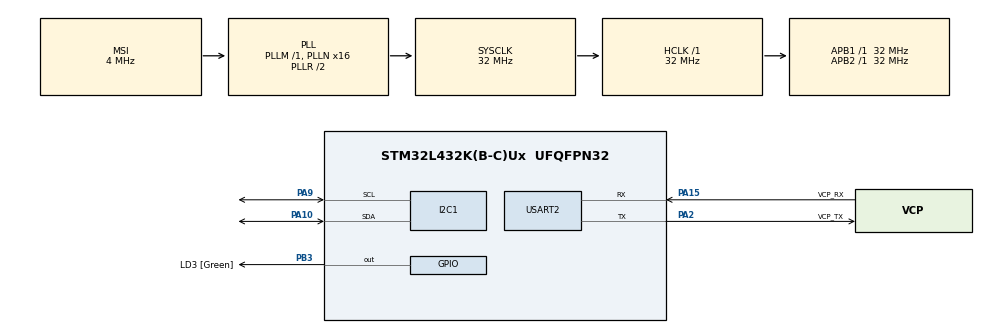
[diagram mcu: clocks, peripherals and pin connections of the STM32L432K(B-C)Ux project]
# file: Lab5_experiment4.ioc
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I2C1.Timing=0x00707CBB
Mcu.Family=STM32L4
Mcu.Name=STM32L432K(B-C)Ux
Mcu.Package=UFQFPN32
NVIC.PriorityGroup=NVIC_PRIORITYGROUP_4
NVIC.USART2_IRQn=true\:0\:0\:false\:false\:true\:true\:true\:true
PA0.GPIO_Label=MCO [High speed clock in]
PA0.Mode=HSE-External-Clock-Source-for-LittleOrca
PA0.Signal=RCC_CK_IN
PA10.Mode=I2C
PA10.Signal=I2C1_SDA
PA13\ (JTMS-SWDIO).GPIO_Label=SWDIO
PA13\ (JTMS-SWDIO).Mode=Serial_Wire
PA13\ (JTMS-SWDIO).Signal=SYS_JTMS-SWDIO
PA14\ (JTCK-SWCLK).GPIO_Label=SWCLK
PA14\ (JTCK-SWCLK).Mode=Serial_Wire
PA14\ (JTCK-SWCLK).Signal=SYS_JTCK-SWCLK
PA15\ (JTDI).GPIO_Label=VCP_RX
PA15\ (JTDI).Mode=Asynchronous
PA15\ (JTDI).Signal=USART2_RX
PA2.GPIO_Label=VCP_TX
PA2.Mode=Asynchronous
PA2.Signal=USART2_TX
PA9.Mode=I2C
PA9.Signal=I2C1_SCL
PB3\ (JTDO-TRACESWO).GPIO_Label=LD3 [Green]
PB3\ (JTDO-TRACESWO).Signal=GPIO_Output
PC14-OSC32_IN\ (PC14).Mode=LSE-External-Oscillator
PC14-OSC32_IN\ (PC14).Signal=RCC_OSC32_IN
PC15-OSC32_OUT\ (PC15).Mode=LSE-External-Oscillator
PC15-OSC32_OUT\ (PC15).Signal=RCC_OSC32_OUT
ProjectManager.HeapSize=0x200
ProjectManager.StackSize=0x400
ProjectManager.TargetToolchain=MDK-ARM V5.32
RCC.AHBFreq_Value=32000000
RCC.APB1Freq_Value=32000000
RCC.APB1TimFreq_Value=32000000
RCC.APB2Freq_Value=32000000
RCC.APB2TimFreq_Value=32000000
RCC.CortexFreq_Value=32000000
RCC.HCLKFreq_Value=32000000
RCC.HSE_VALUE=8000000
RCC.HSI16_VALUE=16000000
RCC.HSI48_VALUE=48000000
RCC.HSI_VALUE=16000000
RCC.MSI_VALUE=4000000
RCC.PLLMUL=RCC_PLLMUL_4
RCC.PLLN=16
RCC.SYSCLKFreq_VALUE=32000000
RCC.SYSCLKSource=RCC_SYSCLKSOURCE_PLLCLK
RCC.VCOOutputFreq_Value=64000000
USART2.VirtualMode-Asynchronous=VM_ASYNC
board=NUCLEO-L432KC

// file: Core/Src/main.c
/* USER CODE BEGIN Header */
/**
  ******************************************************************************
  * @file           : main.c
  * @brief          : Main program body
  ******************************************************************************
  * @attention
  *
  * Copyright (c) 2024 STMicroelectronics.
  * All rights reserved.
  *
  * This software is licensed under terms that can be found in the LICENSE file
  * in the root directory of this software component.
  * If no LICENSE file comes with this software, it is provided AS-IS.
  *
  ******************************************************************************
  */
/* USER CODE END Header */
#include "main.h"

/* USER CODE BEGIN Includes */
#include "stdio.h"
#include <string.h>
#include <stdint.h>
#include <stdlib.h>

/* USER CODE END Includes */

/* USER CODE BEGIN PM */
int flag =0;
char userbuff[6] = {0};
uint8_t secbuffer[2], minbuffer[2], hourbuffer[2],alarmSecbuffer[2] = {0},alarmMinbuffer[2] = {0},alarmHourbuffer[2] = {0},maskbuffer[2],checkbuffer[2],statusbuffer[2];

/* USER CODE END PM */

I2C_HandleTypeDef hi2c1;

UART_HandleTypeDef huart2;

void SystemClock_Config(void);
static void MX_GPIO_Init(void);
static void MX_I2C1_Init(void);
static void MX_USART2_UART_Init(void);
/* USER CODE BEGIN PFP */

int8_t charToHex(char c1, char c2) {
	int8_t hex = 0;
  int8_t digit1 = c1 - '0';
  int8_t digit2 = c2 - '0';
  return (digit1 << 4) | digit2;
}
/* USER CODE END PFP */

int main(void)
{

  /* MCU Configuration--------------------------------------------------------*/

  /* Reset of all peripherals, Initializes the Flash interface and the Systick. */
  HAL_Init();

  /* Configure the system clock */
  SystemClock_Config();

  /* Initialize all configured peripherals */
  MX_GPIO_Init();
  MX_I2C1_Init();
  MX_USART2_UART_Init();

  /* USER CODE BEGIN 2 */

	if (HAL_I2C_IsDeviceReady(&hi2c1, 0xD0, 10, HAL_MAX_DELAY) == HAL_OK)
	{
		for (int i = 1; i<=10;i++) // indicator of ready device
		{
			HAL_GPIO_TogglePin(GPIOB, GPIO_PIN_3);
			HAL_Delay(250);
		}
	}
	//Transmit via I2C to set clock to 7:15:35 am

		checkbuffer[0] = 0x0E;
		checkbuffer[1] = 0x1D;
		HAL_I2C_Master_Transmit(&hi2c1, 0xD0, checkbuffer, 2, 10);

		statusbuffer[0] = 0x0F;
		statusbuffer[1] = 0x88;
		HAL_I2C_Master_Transmit(&hi2c1, 0xD0, statusbuffer, 2, 10);

		maskbuffer[0] = 0x0A;
		maskbuffer[1] = 0x80;
		HAL_I2C_Master_Transmit(&hi2c1, 0xD0, maskbuffer, 2, 10);

	secbuffer[0] = 0x00; //register address
	secbuffer[1] = 0x00; //data to put in register --> 35 sec

	HAL_I2C_Master_Transmit(&hi2c1, 0xD0, secbuffer, 2, 10);
	// minutes
	minbuffer[0] = 0x01; //register address
	minbuffer[1] = 0x46; //data to put in register --> 15 min
	HAL_I2C_Master_Transmit(&hi2c1, 0xD0, minbuffer, 2, 10);
	// hours

	hourbuffer[0] = 0x02; //register address
	hourbuffer[1] = 0x12; //data to put in register 01001001 --> 7 am

	HAL_I2C_Master_Transmit(&hi2c1, 0xD0, hourbuffer, 2, 10);
	//Receive via I2C and forward to UART
	uint8_t h1,h2,m1,m2,s1,s2, check;
	__HAL_UART_ENABLE_IT(&huart2, UART_IT_RXNE);

	char uartBuf [100] = {0};
  /* USER CODE END 2 */

  /* Infinite loop */
  /* USER CODE BEGIN WHILE */
  while (1)
  {
		//__HAL_UART_DISABLE_IT(&huart2, UART_IT_RXNE);
		//send seconds register address 00h to read from
		HAL_I2C_Master_Transmit(&hi2c1, 0xD0, secbuffer, 1, 10);
		//read data of register 00h to secbuffer[1]
		HAL_I2C_Master_Receive(&hi2c1, 0xD1, secbuffer+1, 1, 10);
		//prepare UART output
		s1 = secbuffer[1] >> 4;
		s2 = secbuffer[1] & 0x0F;
		HAL_I2C_Master_Transmit(&hi2c1, 0xD0, minbuffer, 1, 10);
		HAL_I2C_Master_Receive(&hi2c1, 0xD1, minbuffer+1, 1, 10);
		m1 = minbuffer[1] >> 4;
		m2 = minbuffer[1] & 0x0F;
		HAL_I2C_Master_Transmit(&hi2c1, 0xD0, hourbuffer, 1, 10);
		HAL_I2C_Master_Receive(&hi2c1, 0xD1, hourbuffer+1, 1, 10);

		h1 = (hourbuffer[1] >> 4) & 1;
		h2 = hourbuffer[1] & 0x0F;
		// transmit time to UART
		__HAL_UART_DISABLE_IT(&huart2, UART_IT_RXNE);
		sprintf(uartBuf, "%d%d:%d%d:%d%d\r\n",h1,h2,m1,m2,s1,s2);
		HAL_UART_Transmit(&huart2, (uint8_t *)uartBuf, sizeof(uartBuf), 10);
		//0E
		__HAL_UART_ENABLE_IT(&huart2, UART_IT_RXNE);
		if(flag ==6){
		//hhmmss
		alarmSecbuffer[0] = 0x07;
		alarmSecbuffer[1] = charToHex(userbuff[4], userbuff[5]);
		//alarmSecbuffer[1] = uartBuf[4];
		HAL_I2C_Master_Transmit(&hi2c1, 0xD0, alarmSecbuffer, 2, 10);

		alarmMinbuffer[0] = 0x08;
		alarmMinbuffer[1] = charToHex(userbuff[2], userbuff[3]);
		HAL_I2C_Master_Transmit(&hi2c1, 0xD0, alarmMinbuffer, 2, 10);

		alarmHourbuffer[0] = 0x09;
		int8_t twenty = 0b0;
		int8_t ten = 0b0;
		if(userbuff[0] == '2'){
			twenty = 0b1;
		}
		else if (userbuff[0] == '1'){
			ten = 0b1;
		}
		int ones_sec = userbuff[1] - '0';
		//alarmHourbuffer[1] = (0b00 << 6) | (twenty << 5) | (ten << 4) | (ones_sec & 0x0F);
		alarmHourbuffer[1] = charToHex(userbuff[0], userbuff[1]);
	  HAL_I2C_Master_Transmit(&hi2c1, 0xD0, alarmHourbuffer, 2, 10);
		statusbuffer[0] = 0x0F;
		statusbuffer[1] = 0x88;
		HAL_I2C_Master_Transmit(&hi2c1, 0xD0, statusbuffer, 2, 10);

		// seconds
		statusbuffer[0] = 0x0F;
		statusbuffer[1] = 0x88;
		HAL_I2C_Master_Transmit(&hi2c1, 0xD0, statusbuffer, 2, 10);
		__HAL_UART_DISABLE_IT(&huart2, UART_IT_RXNE);
		sprintf(uartBuf, "Alarm Set\r\n");
		HAL_UART_Transmit(&huart2, (uint8_t *)uartBuf, sizeof(uartBuf), 10);
		__HAL_UART_ENABLE_IT(&huart2, UART_IT_RXNE);

		flag = 0;
}
		HAL_Delay(1000);
    /* USER CODE END WHILE */

  }
}

void SystemClock_Config(void)
{
  RCC_OscInitTypeDef RCC_OscInitStruct = {0};
  RCC_ClkInitTypeDef RCC_ClkInitStruct = {0};

  /** Configure the main internal regulator output voltage
  */
  if (HAL_PWREx_ControlVoltageScaling(PWR_REGULATOR_VOLTAGE_SCALE1) != HAL_OK)
  {
    Error_Handler();
  }

  /** Configure LSE Drive Capability
  */
  HAL_PWR_EnableBkUpAccess();
  __HAL_RCC_LSEDRIVE_CONFIG(RCC_LSEDRIVE_LOW);

  /** Initializes the RCC Oscillators according to the specified parameters
  * in the RCC_OscInitTypeDef structure.
  */
  RCC_OscInitStruct.OscillatorType = RCC_OSCILLATORTYPE_LSE|RCC_OSCILLATORTYPE_MSI;
  RCC_OscInitStruct.LSEState = RCC_LSE_ON;
  RCC_OscInitStruct.MSIState = RCC_MSI_ON;
  RCC_OscInitStruct.MSICalibrationValue = 0;
  RCC_OscInitStruct.MSIClockRange = RCC_MSIRANGE_6;
  RCC_OscInitStruct.PLL.PLLState = RCC_PLL_ON;
  RCC_OscInitStruct.PLL.PLLSource = RCC_PLLSOURCE_MSI;
  RCC_OscInitStruct.PLL.PLLM = 1;
  RCC_OscInitStruct.PLL.PLLN = 16;
  RCC_OscInitStruct.PLL.PLLP = RCC_PLLP_DIV7;
  RCC_OscInitStruct.PLL.PLLQ = RCC_PLLQ_DIV2;
  RCC_OscInitStruct.PLL.PLLR = RCC_PLLR_DIV2;
  if (HAL_RCC_OscConfig(&RCC_OscInitStruct) != HAL_OK)
  {
    Error_Handler();
  }

  /** Initializes the CPU, AHB and APB buses clocks
  */
  RCC_ClkInitStruct.ClockType = RCC_CLOCKTYPE_HCLK|RCC_CLOCKTYPE_SYSCLK
                              |RCC_CLOCKTYPE_PCLK1|RCC_CLOCKTYPE_PCLK2;
  RCC_ClkInitStruct.SYSCLKSource = RCC_SYSCLKSOURCE_PLLCLK;
  RCC_ClkInitStruct.AHBCLKDivider = RCC_SYSCLK_DIV1;
  RCC_ClkInitStruct.APB1CLKDivider = RCC_HCLK_DIV1;
  RCC_ClkInitStruct.APB2CLKDivider = RCC_HCLK_DIV1;

  if (HAL_RCC_ClockConfig(&RCC_ClkInitStruct, FLASH_LATENCY_1) != HAL_OK)
  {
    Error_Handler();
  }

  /** Enable MSI Auto calibration
  */
  HAL_RCCEx_EnableMSIPLLMode();
}

static void MX_I2C1_Init(void)
{

  hi2c1.Instance = I2C1;
  hi2c1.Init.Timing = 0x00707CBB;
  hi2c1.Init.OwnAddress1 = 0;
  hi2c1.Init.AddressingMode = I2C_ADDRESSINGMODE_7BIT;
  hi2c1.Init.DualAddressMode = I2C_DUALADDRESS_DISABLE;
  hi2c1.Init.OwnAddress2 = 0;
  hi2c1.Init.OwnAddress2Masks = I2C_OA2_NOMASK;
  hi2c1.Init.GeneralCallMode = I2C_GENERALCALL_DISABLE;
  hi2c1.Init.NoStretchMode = I2C_NOSTRETCH_DISABLE;
  if (HAL_I2C_Init(&hi2c1) != HAL_OK)
  {
    Error_Handler();
  }

  /** Configure Analogue filter
  */
  if (HAL_I2CEx_ConfigAnalogFilter(&hi2c1, I2C_ANALOGFILTER_ENABLE) != HAL_OK)
  {
    Error_Handler();
  }

  /** Configure Digital filter
  */
  if (HAL_I2CEx_ConfigDigitalFilter(&hi2c1, 0) != HAL_OK)
  {
    Error_Handler();
  }

}

static void MX_USART2_UART_Init(void)
{

  huart2.Instance = USART2;
  huart2.Init.BaudRate = 115200;
  huart2.Init.WordLength = UART_WORDLENGTH_8B;
  huart2.Init.StopBits = UART_STOPBITS_1;
  huart2.Init.Parity = UART_PARITY_NONE;
  huart2.Init.Mode = UART_MODE_TX_RX;
  huart2.Init.HwFlowCtl = UART_HWCONTROL_NONE;
  huart2.Init.OverSampling = UART_OVERSAMPLING_16;
  huart2.Init.OneBitSampling = UART_ONE_BIT_SAMPLE_DISABLE;
  huart2.AdvancedInit.AdvFeatureInit = UART_ADVFEATURE_NO_INIT;
  if (HAL_UART_Init(&huart2) != HAL_OK)
  {
    Error_Handler();
  }

}

static void MX_GPIO_Init(void)
{
  GPIO_InitTypeDef GPIO_InitStruct = {0};

  /* GPIO Ports Clock Enable */
  __HAL_RCC_GPIOC_CLK_ENABLE();
  __HAL_RCC_GPIOA_CLK_ENABLE();
  __HAL_RCC_GPIOB_CLK_ENABLE();

  /*Configure GPIO pin Output Level */
  HAL_GPIO_WritePin(LD3_GPIO_Port, LD3_Pin, GPIO_PIN_RESET);

  /*Configure GPIO pin : LD3_Pin */
  GPIO_InitStruct.Pin = LD3_Pin;
  GPIO_InitStruct.Mode = GPIO_MODE_OUTPUT_PP;
  GPIO_InitStruct.Pull = GPIO_NOPULL;
  GPIO_InitStruct.Speed = GPIO_SPEED_FREQ_LOW;
  HAL_GPIO_Init(LD3_GPIO_Port, &GPIO_InitStruct);

}

void Error_Handler(void)
{
  __disable_irq();
  while (1)
  {
  }
}
